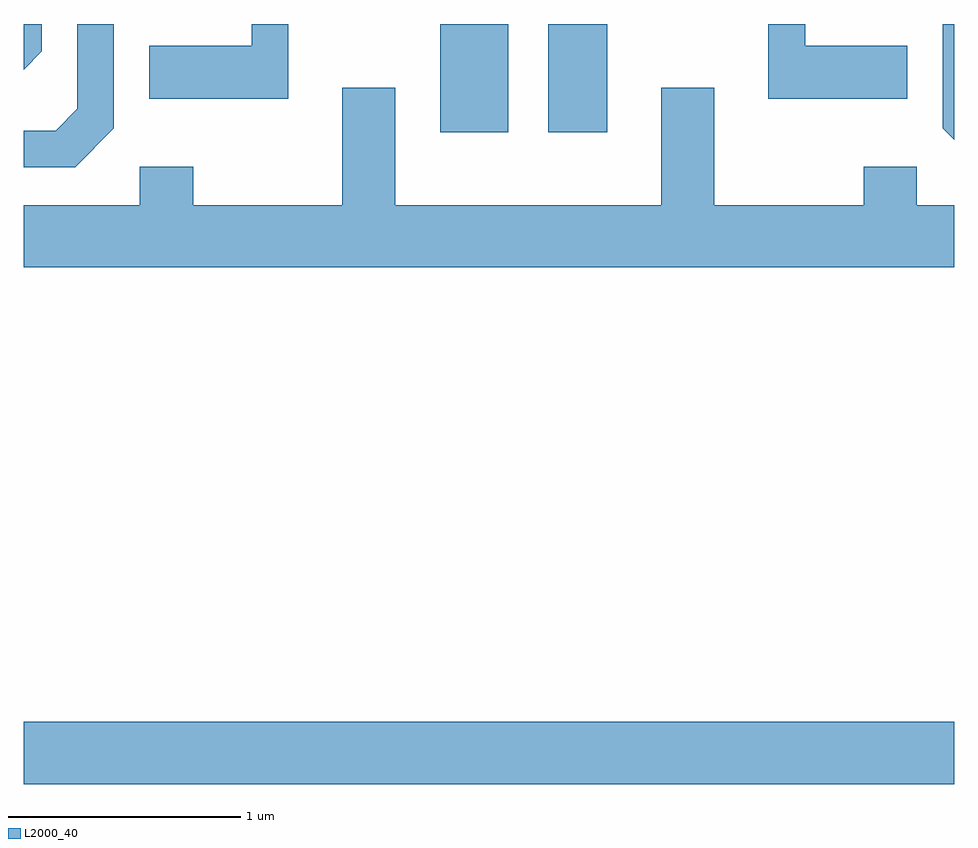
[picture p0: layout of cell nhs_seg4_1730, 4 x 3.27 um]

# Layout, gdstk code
import gdstk
lib = gdstk.Library(unit=1e-6, precision=1e-09)
def R(c, l, rs):  # rectangles x0, y0, x1, y1
    for r in rs: c.add(gdstk.rectangle(r[:2], r[2:], *l))
def P(c, l, *ps):  # polygons
    for p in ps: c.add(gdstk.Polygon(p, *l))
L2000_40 = (2000, 40)

nhs_seg4_1730 = lib.new_cell('nhs_seg4_1730')
R(nhs_seg4_1730, L2000_40, [(235.611,1314.716,239.611,1314.984), (237.401,1317.516,237.694,1317.982), (237.866,1317.516,238.119,1317.982)])
P(nhs_seg4_1730, L2000_40, [(239.611,1317.982),(239.561,1317.982),(239.561,1317.534),(239.611,1317.484)],
  [(236.749,1317.982),(236.591,1317.982),(236.591,1317.889),(236.151,1317.889),(236.151,1317.661),(236.749,1317.661)],
  [(239.409,1317.889),(238.969,1317.889),(238.969,1317.982),(238.811,1317.982),(238.811,1317.661),(239.409,1317.661)],
  [(235.999,1317.534),(235.999,1317.982),(235.841,1317.982),(235.841,1317.617),(235.749,1317.524),(235.611,1317.524),(235.611,1317.366),(235.832,1317.366)],
  [(235.689,1317.864),(235.689,1317.982),(235.611,1317.982),(235.611,1317.786)],
  [(239.611,1317.204),(239.449,1317.204),(239.449,1317.369),(239.221,1317.369),(239.221,1317.204),(238.579,1317.204),(238.579,1317.709),(238.351,1317.709),(238.351,1317.204),(237.209,1317.204),(237.209,1317.709),(236.981,1317.709),(236.981,1317.204),(236.339,1317.204),(236.339,1317.369),(236.111,1317.369),(236.111,1317.204),(235.611,1317.204),(235.611,1316.936),(239.611,1316.936)])

lib.write_gds('nhs_seg4_1730.gds')
